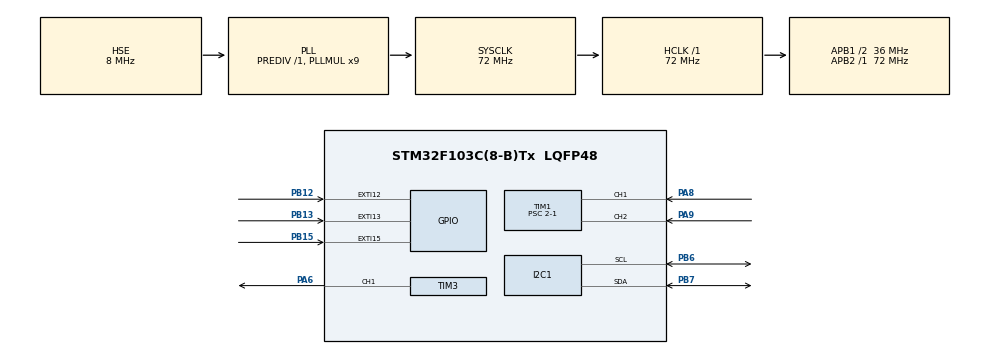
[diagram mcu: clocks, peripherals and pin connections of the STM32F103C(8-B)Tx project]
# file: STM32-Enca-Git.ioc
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I2C1.I2C_Mode=I2C_Fast
Mcu.Family=STM32F1
Mcu.Name=STM32F103C(8-B)Tx
Mcu.Package=LQFP48
NVIC.EXTI15_10_IRQn=true\:0\:0\:false\:false\:true\:true\:true\:true
NVIC.PriorityGroup=NVIC_PRIORITYGROUP_4
PA13.Mode=Serial_Wire
PA13.Signal=SYS_JTMS-SWDIO
PA14.Mode=Serial_Wire
PA14.Signal=SYS_JTCK-SWCLK
PA6.Signal=S_TIM3_CH1
PA8.Signal=S_TIM1_CH1
PA9.Signal=S_TIM1_CH2
PB12.GPIO_ModeDefaultEXTI=GPIO_MODE_IT_FALLING
PB12.GPIO_PuPd=GPIO_PULLUP
PB12.Signal=GPXTI12
PB13.GPIO_ModeDefaultEXTI=GPIO_MODE_IT_FALLING
PB13.GPIO_PuPd=GPIO_PULLUP
PB13.Signal=GPXTI13
PB15.GPIO_ModeDefaultEXTI=GPIO_MODE_IT_FALLING
PB15.GPIO_PuPd=GPIO_PULLUP
PB15.Signal=GPXTI15
PB6.Mode=I2C
PB6.Signal=I2C1_SCL
PB7.Mode=I2C
PB7.Signal=I2C1_SDA
PD0-OSC_IN.Mode=HSE-External-Oscillator
PD0-OSC_IN.Signal=RCC_OSC_IN
PD1-OSC_OUT.Mode=HSE-External-Oscillator
PD1-OSC_OUT.Signal=RCC_OSC_OUT
ProjectManager.HeapSize=0x200
ProjectManager.StackSize=0x400
ProjectManager.TargetToolchain=CMake
RCC.AHBFreq_Value=72000000
RCC.APB1CLKDivider=RCC_HCLK_DIV2
RCC.APB1Freq_Value=36000000
RCC.APB1TimFreq_Value=72000000
RCC.APB2Freq_Value=72000000
RCC.APB2TimFreq_Value=72000000
RCC.HCLKFreq_Value=72000000
RCC.PLLMUL=RCC_PLL_MUL9
RCC.PLLSourceVirtual=RCC_PLLSOURCE_HSE
RCC.SYSCLKFreq_VALUE=72000000
RCC.SYSCLKSource=RCC_SYSCLKSOURCE_PLLCLK
RCC.USBFreq_Value=72000000
SH.S_TIM1_CH1.0=TIM1_CH1,Encoder_Interface
SH.S_TIM1_CH2.0=TIM1_CH2,Encoder_Interface
SH.S_TIM3_CH1.0=TIM3_CH1,PWM Generation1 CH1
TIM1.IC1Filter=15
TIM1.IC2Filter=15
TIM1.IC2Polarity=TIM_ICPOLARITY_FALLING
TIM1.Prescaler=2-1
TIM3.Channel-PWM\ Generation1\ CH1=TIM_CHANNEL_1
TIM3.Period=100
TIM3.Prescaler=72-1
VP_TIM3_VS_ClockSourceINT.Mode=Internal
board=custom

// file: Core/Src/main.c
/* USER CODE BEGIN Header */
/**
  ******************************************************************************
  * @file           : main.c
  * @brief          : Main program body
  ******************************************************************************
  * @attention
  *
  * Copyright (c) 2026 STMicroelectronics.
  * All rights reserved.
  *
  * This software is licensed under terms that can be found in the LICENSE file
  * in the root directory of this software component.
  * If no LICENSE file comes with this software, it is provided AS-IS.
  *
  ******************************************************************************
  */
/* USER CODE END Header */
#include "main.h"
#include "i2c.h"
#include "stm32f103xb.h"
#include "stm32f1xx_hal_tim.h"
#include "tim.h"
#include "gpio.h"

/* USER CODE BEGIN Includes */
#include "button.h"
#include "led.h"
#include "ec11.h"
#include "oled.h"
#include <string.h>
#include <stdio.h>
/* USER CODE END Includes */

void SystemClock_Config(void);

int main(void)
{

  /* MCU Configuration--------------------------------------------------------*/

  /* Reset of all peripherals, Initializes the Flash interface and the Systick. */
  HAL_Init();

  /* Configure the system clock */
  SystemClock_Config();

  /* Initialize all configured peripherals */
  MX_GPIO_Init();
  MX_I2C1_Init();
  MX_TIM1_Init();
  MX_TIM3_Init();
  /* USER CODE BEGIN 2 */
  EC11_t ec11;
  EC11_Init(&ec11, &htim1, 0, 100);

  Button_t ec11_key;
  Button_Init(&ec11_key, GPIOB, GPIO_PIN_15,0);

  OLED_Init();
  HAL_TIM_PWM_Start(&htim3, TIM_CHANNEL_1);

  char message[20] = "";
  /* USER CODE END 2 */

  /* Infinite loop */
  /* USER CODE BEGIN WHILE */
  while (1)
  {
    BtnEvent_t ec11_key_event = Button_GetEvent(&ec11_key);
    if(ec11_key_event == BTN_EVENT_CLICK)
    {
      EC11_SetValue(&ec11, ec11.min_value);
    }
    uint16_t count = EC11_GetValue(&ec11);
    sprintf(message, "Count: %d", count);
    OLED_Clear();
    OLED_DrawString(32,32, message,FONT_8X8,1);
    OLED_Update();

    __HAL_TIM_SET_COMPARE(&htim3, TIM_CHANNEL_1, count);

    HAL_Delay(8);
    /* USER CODE END WHILE */

  }
}

void SystemClock_Config(void)
{
  RCC_OscInitTypeDef RCC_OscInitStruct = {0};
  RCC_ClkInitTypeDef RCC_ClkInitStruct = {0};

  /** Initializes the RCC Oscillators according to the specified parameters
  * in the RCC_OscInitTypeDef structure.
  */
  RCC_OscInitStruct.OscillatorType = RCC_OSCILLATORTYPE_HSE;
  RCC_OscInitStruct.HSEState = RCC_HSE_ON;
  RCC_OscInitStruct.HSEPredivValue = RCC_HSE_PREDIV_DIV1;
  RCC_OscInitStruct.HSIState = RCC_HSI_ON;
  RCC_OscInitStruct.PLL.PLLState = RCC_PLL_ON;
  RCC_OscInitStruct.PLL.PLLSource = RCC_PLLSOURCE_HSE;
  RCC_OscInitStruct.PLL.PLLMUL = RCC_PLL_MUL9;
  if (HAL_RCC_OscConfig(&RCC_OscInitStruct) != HAL_OK)
  {
    Error_Handler();
  }

  /** Initializes the CPU, AHB and APB buses clocks
  */
  RCC_ClkInitStruct.ClockType = RCC_CLOCKTYPE_HCLK|RCC_CLOCKTYPE_SYSCLK
                              |RCC_CLOCKTYPE_PCLK1|RCC_CLOCKTYPE_PCLK2;
  RCC_ClkInitStruct.SYSCLKSource = RCC_SYSCLKSOURCE_PLLCLK;
  RCC_ClkInitStruct.AHBCLKDivider = RCC_SYSCLK_DIV1;
  RCC_ClkInitStruct.APB1CLKDivider = RCC_HCLK_DIV2;
  RCC_ClkInitStruct.APB2CLKDivider = RCC_HCLK_DIV1;

  if (HAL_RCC_ClockConfig(&RCC_ClkInitStruct, FLASH_LATENCY_2) != HAL_OK)
  {
    Error_Handler();
  }
}

void Error_Handler(void)
{
  __disable_irq();
  while (1)
  {
  }
}
